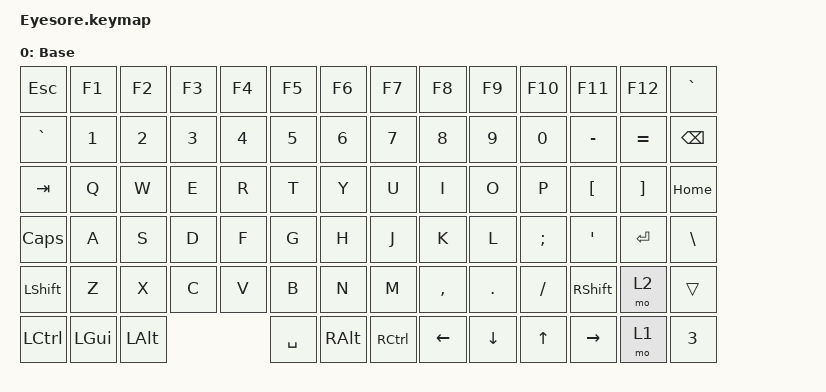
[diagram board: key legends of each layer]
#include <behaviors.dtsi>
#include <dt-bindings/zmk/bt.h>
#include <dt-bindings/zmk/keys.h>

/ {
    keymap {
        compatible = "zmk,keymap";

        default_layer {
            display-name = "Base";
            bindings = <
                &kp ESC   &kp F1   &kp F2   &kp F3   &kp F4    &kp F5    &kp F6    &kp F7    &kp F8    &kp F9   &kp F10   &kp F11   &kp F12   &kp GRAVE
                &kp GRAVE &kp N1   &kp N2   &kp N3   &kp N4    &kp N5    &kp N6    &kp N7    &kp N8    &kp N9   &kp N0    &kp MINUS &kp EQUAL &kp BSPC
                &kp TAB   &kp Q    &kp W    &kp E    &kp R     &kp T     &kp Y     &kp U     &kp I     &kp O    &kp P     &kp LBKT  &kp RBKT  &kp HOME
                &kp CLCK  &kp A    &kp S    &kp D    &kp F     &kp G     &kp H     &kp J     &kp K     &kp L    &kp SEMI  &kp SQT   &kp ENTER &kp BSLH
                &kp LSHFT &kp Z    &kp X    &kp C    &kp V     &kp B     &kp N     &kp M     &kp COMMA &kp DOT  &kp FSLH  &kp RSHFT &mo 2     &trans
                &kp LCTRL &kp LGUI &kp LALT                    &kp SPACE &kp RALT  &kp RCTRL &kp LEFT  &kp DOWN &kp UP    &kp RIGHT &mo 1     &kp N3
            >;
        };
    };
};
